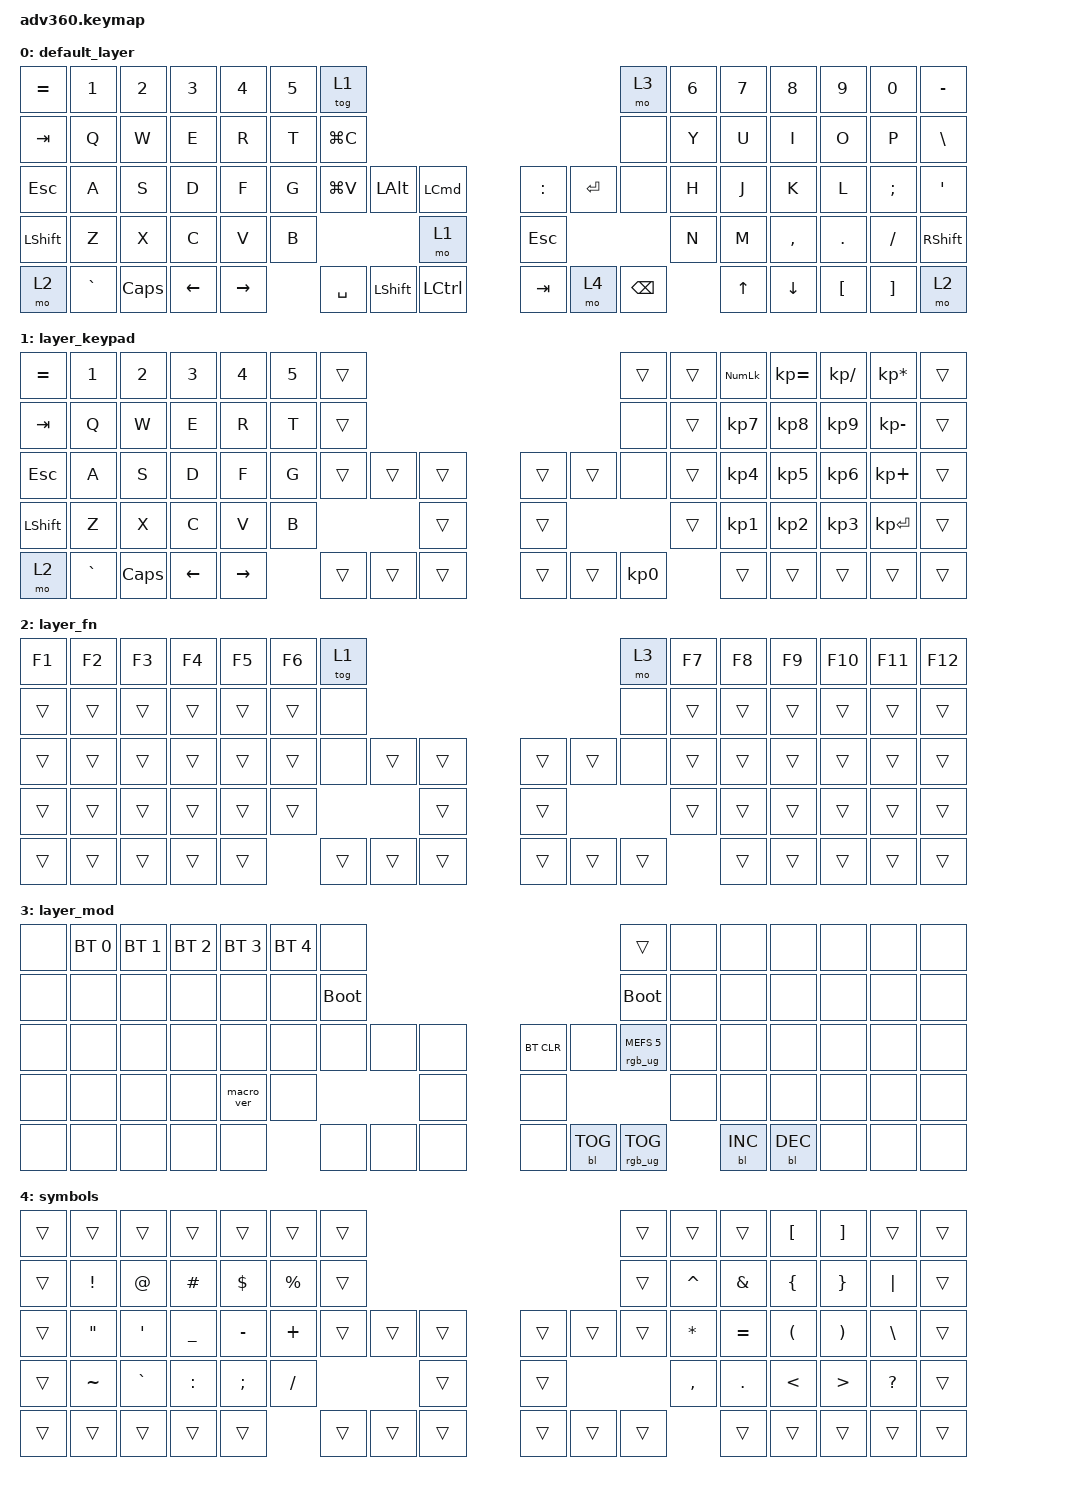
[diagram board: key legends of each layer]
/*
 * Copyright (c) 2020 The ZMK Contributors
 *
 * SPDX-License-Identifier: MIT
 */
/* THIS FILE WAS GENERATED!
 *
 * This file was generated automatically. You may or may not want to
 * edit it directly.
 */

#include <behaviors.dtsi>
#include <dt-bindings/zmk/backlight.h>
#include <dt-bindings/zmk/bt.h>
#include <dt-bindings/zmk/keys.h>
#include <dt-bindings/zmk/rgb.h>

/ {
    behaviors {
        #include "macros.dtsi"
    #include "version.dtsi"

        hm: homerow_mods {
            compatible = "zmk,behavior-hold-tap";
            label = "HOMEROW_MODS";
            #binding-cells = <2>;
            tapping-term-ms = <200>;
            quick_tap_ms = <175>;
            flavor = "tap-preferred";
            bindings = <&kp>, <&kp>;
        };
    };

    macros {
        prevtab: prevtab {
            compatible = "zmk,behavior-macro";
            #binding-cells = <0>;
            bindings = <&sk LCTRL &kp LEFT_BRACE>;
            label = "PREVTAB";
        };

        nexttab: nexttab {
            compatible = "zmk,behavior-macro";
            #binding-cells = <0>;
            bindings = <&sk LCTRL &kp RIGHT_BRACE>;
            label = "NEXTTAB";
        };
    };

    keymap {
        compatible = "zmk,keymap";

        default_layer {
            bindings = <
&kp EQUAL  &kp N1     &kp N2    &kp N3    &kp N4     &kp N5  &tog 1                                                                &mo 3          &kp N6  &kp N7  &kp N8     &kp N9    &kp N0    &kp MINUS
&kp TAB    &kp Q      &kp W     &kp E     &kp R      &kp T   &kp LG(C)                                                             &none          &kp Y   &kp U   &kp I      &kp O     &kp P     &kp BSLH
&kp ESC    &kp A      &kp S     &kp D     &kp F      &kp G   &kp LG(V)  &kp LEFT_ALT  &kp LEFT_COMMAND      &kp COLON   &kp ENTER  &none          &kp H   &kp J   &kp K      &kp L     &kp SEMI  &kp SQT
&kp LSHFT  &kp Z      &kp X     &kp C     &kp V      &kp B                            &mo 1                 &kp ESCAPE                            &kp N   &kp M   &kp COMMA  &kp DOT   &kp FSLH  &kp RSHFT
&mo 2      &kp GRAVE  &kp CAPS  &kp LEFT  &kp RIGHT          &kp SPACE  &kp LSHIFT    &kp LCTRL             &kp TAB     &mo 4      &kp BACKSPACE          &kp UP  &kp DOWN   &kp LBKT  &kp RBKT  &mo 2
            >;
        };

        layer_keypad {
            bindings = <
&kp EQUAL  &kp N1     &kp N2    &kp N3    &kp N4     &kp N5  &trans                                      &trans           &trans  &kp KP_NUM  &kp KP_EQUAL  &kp KP_DIVIDE  &kp KP_MULTIPLY  &trans
&kp TAB    &kp Q      &kp W     &kp E     &kp R      &kp T   &trans                                      &none            &trans  &kp KP_N7   &kp KP_N8     &kp KP_N9      &kp KP_MINUS     &trans
&kp ESC    &kp A      &kp S     &kp D     &kp F      &kp G   &trans  &trans  &trans      &trans  &trans  &none            &trans  &kp KP_N4   &kp KP_N5     &kp KP_N6      &kp KP_PLUS      &trans
&kp LSHFT  &kp Z      &kp X     &kp C     &kp V      &kp B                   &trans      &trans                           &trans  &kp KP_N1   &kp KP_N2     &kp KP_N3      &kp KP_ENTER     &trans
&mo 2      &kp GRAVE  &kp CAPS  &kp LEFT  &kp RIGHT          &trans  &trans  &trans      &trans  &trans  &kp KP_NUMBER_0          &trans      &trans        &trans         &trans           &trans
            >;
        };

        layer_fn {
            bindings = <
&kp F1  &kp F2  &kp F3  &kp F4  &kp F5  &kp F6  &tog 1                                      &mo 3   &kp F7  &kp F8  &kp F9  &kp F10  &kp F11  &kp F12
&trans  &trans  &trans  &trans  &trans  &trans  &none                                       &none   &trans  &trans  &trans  &trans   &trans   &trans
&trans  &trans  &trans  &trans  &trans  &trans  &none   &trans  &trans      &trans  &trans  &none   &trans  &trans  &trans  &trans   &trans   &trans
&trans  &trans  &trans  &trans  &trans  &trans                  &trans      &trans                  &trans  &trans  &trans  &trans   &trans   &trans
&trans  &trans  &trans  &trans  &trans          &trans  &trans  &trans      &trans  &trans  &trans          &trans  &trans  &trans   &trans   &trans
            >;
        };

        layer_mod {
            bindings = <
&none  &bt BT_SEL 0  &bt BT_SEL 1  &bt BT_SEL 2  &bt BT_SEL 3  &bt BT_SEL 4  &none                                                  &trans                  &none  &none       &none       &none  &none  &none
&none  &none         &none         &none         &none         &none         &bootloader                                            &bootloader             &none  &none       &none       &none  &none  &none
&none  &none         &none         &none         &none         &none         &none        &none  &none      &bt BT_CLR  &none       &rgb_ug RGB_MEFS_CMD 5  &none  &none       &none       &none  &none  &none
&none  &none         &none         &none         &macro_ver    &none                             &none      &none                                           &none  &none       &none       &none  &none  &none
&none  &none         &none         &none         &none                       &none        &none  &none      &none       &bl BL_TOG  &rgb_ug RGB_TOG                &bl BL_INC  &bl BL_DEC  &none  &none  &none
            >;
        };

        symbols {
            bindings = <
&trans  &trans             &trans            &trans          &trans         &trans       &trans                                      &trans  &trans        &trans         &kp LEFT_BRACKET      &kp RIGHT_BRACKET      &trans         &trans
&trans  &kp EXCLAMATION    &kp AT_SIGN       &kp HASH        &kp DOLLAR     &kp PERCENT  &trans                                      &trans  &kp CARET     &kp AMPERSAND  &kp LEFT_BRACE        &kp RIGHT_BRACE        &kp PIPE       &trans
&trans  &kp DOUBLE_QUOTES  &kp SINGLE_QUOTE  &kp UNDERSCORE  &kp MINUS      &kp PLUS     &trans  &trans  &trans      &trans  &trans  &trans  &kp ASTERISK  &kp EQUAL      &kp LEFT_PARENTHESIS  &kp RIGHT_PARENTHESIS  &kp BACKSLASH  &trans
&trans  &kp TILDE          &kp GRAVE         &kp COLON       &kp SEMICOLON  &kp SLASH                    &trans      &trans                  &kp COMMA     &kp PERIOD     &kp LESS_THAN         &kp GREATER_THAN       &kp QUESTION   &trans
&trans  &trans             &trans            &trans          &trans                      &trans  &trans  &trans      &trans  &trans  &trans                &trans         &trans                &trans                 &trans         &trans
            >;
        };
    };
};
